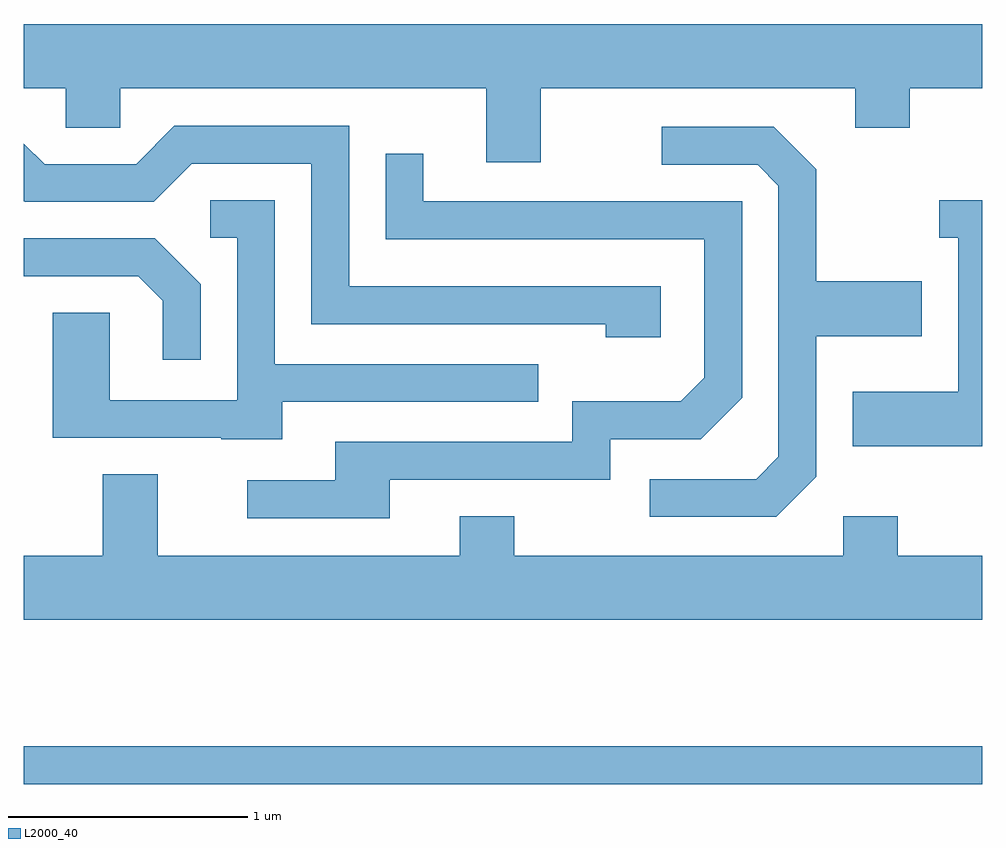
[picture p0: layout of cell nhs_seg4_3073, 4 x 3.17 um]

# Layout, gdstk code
import gdstk
lib = gdstk.Library(unit=1e-6, precision=1e-09)
def R(c, l, rs):  # rectangles x0, y0, x1, y1
    for r in rs: c.add(gdstk.rectangle(r[:2], r[2:], *l))
def P(c, l, *ps):  # polygons
    for p in ps: c.add(gdstk.Polygon(p, *l))
L2000_40 = (2000, 40)

nhs_seg4_3073 = lib.new_cell('nhs_seg4_3073')
R(nhs_seg4_3073, L2000_40, [(275.611,1280.731,279.611,1280.889)])
P(nhs_seg4_3073, L2000_40, [(277.769,1283.636),(279.081,1283.636),(279.081,1283.471),(279.309,1283.471),(279.309,1283.636),(279.611,1283.636),(279.611,1283.904),(275.611,1283.904),(275.611,1283.636),(275.786,1283.636),(275.786,1283.471),(276.014,1283.471),(276.014,1283.636),(277.541,1283.636),(277.541,1283.326),(277.769,1283.326)],
  [(278.269,1282.809),(276.969,1282.809),(276.969,1283.479),(276.239,1283.479),(276.079,1283.319),(275.697,1283.319),(275.611,1283.405),(275.611,1283.164),(275.614,1283.161),(276.152,1283.161),(276.312,1283.321),(276.811,1283.321),(276.811,1282.651),(278.041,1282.651),(278.041,1282.596),(278.269,1282.596)],
  [(278.919,1282.014),(278.919,1282.601),(279.359,1282.601),(279.359,1282.829),(278.919,1282.829),(278.919,1283.297),(278.742,1283.474),(278.273,1283.474),(278.273,1283.316),(278.674,1283.316),(278.761,1283.229),(278.761,1282.097),(278.669,1282.004),(278.223,1282.004),(278.223,1281.846),(278.752,1281.846)],
  [(277.139,1282.001),(278.059,1282.001),(278.059,1282.171),(278.437,1282.171),(278.609,1282.344),(278.609,1283.164),(277.279,1283.164),(277.279,1283.363),(277.121,1283.363),(277.121,1283.006),(278.451,1283.006),(278.451,1282.427),(278.354,1282.329),(277.901,1282.329),(277.901,1282.159),(276.911,1282.159),(276.911,1281.999),(276.543,1281.999),(276.543,1281.841),(277.139,1281.841)],
  [(279.611,1283.169),(279.433,1283.169),(279.433,1283.011),(279.511,1283.011),(279.511,1282.369),(279.071,1282.369),(279.071,1282.141),(279.611,1282.141)],
  [(276.689,1282.326),(277.758,1282.326),(277.758,1282.484),(276.659,1282.484),(276.659,1283.169),(276.388,1283.169),(276.388,1283.011),(276.501,1283.011),(276.501,1282.334),(275.969,1282.334),(275.969,1282.699),(275.731,1282.699),(275.731,1282.176),(276.435,1282.176),(276.435,1282.171),(276.689,1282.171)],
  [(276.349,1282.817),(276.157,1283.009),(275.611,1283.009),(275.611,1282.851),(276.089,1282.851),(276.191,1282.749),(276.191,1282.503),(276.349,1282.503)],
  [(279.611,1281.684),(279.259,1281.684),(279.259,1281.849),(279.031,1281.849),(279.031,1281.684),(277.659,1281.684),(277.659,1281.849),(277.431,1281.849),(277.431,1281.684),(276.169,1281.684),(276.169,1282.024),(275.941,1282.024),(275.941,1281.684),(275.611,1281.684),(275.611,1281.416),(279.611,1281.416)])

lib.write_gds('nhs_seg4_3073.gds')
